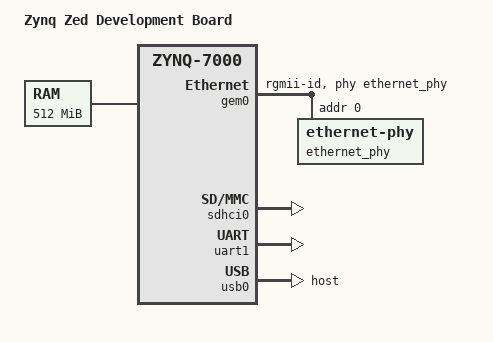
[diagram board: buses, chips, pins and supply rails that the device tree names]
/*
 *  Copyright (C) 2011 - 2014 Xilinx
 *  Copyright (C) 2012 National Instruments Corp.
 *
 * This software is licensed under the terms of the GNU General Public
 * License version 2, as published by the Free Software Foundation, and
 * may be copied, distributed, and modified under those terms.
 *
 * This program is distributed in the hope that it will be useful,
 * but WITHOUT ANY WARRANTY; without even the implied warranty of
 * MERCHANTABILITY or FITNESS FOR A PARTICULAR PURPOSE.  See the
 * GNU General Public License for more details.
 */
/dts-v1/;
/include/ "zynq-7000.dtsi"

/*
 * include for HDMI on ZED
 /include/ "zed-hdmi.dtsi"
 */

/*
 * include for canotto IP/slave-board
 *
 /include/ "zed-canotto.dtsi"
 */

/*
 * include for VGA ocfb-edl IP
 */

/include/ "zed-ocfb-edl.dtsi"


/ {
	model = "Zynq Zed Development Board";
	compatible = "xlnx,zynq-zed", "xlnx,zynq-7000";

	aliases {
		ethernet0 = &gem0;
		serial0 = &uart1;
	};

	memory {
		device_type = "memory";
		reg = <0x0 0x20000000>;
	};

	chosen {
		bootargs = "earlyprintk root=/dev/mmcblk0p2 rootwait";
		stdout-path = "serial0:115200n8";
	};
};

&clkc {
	ps-clk-frequency = <33333333>;
	fclk-enable = <0xf>;
};

&gem0 {
	status = "okay";
	phy-mode = "rgmii-id";
	phy-handle = <&ethernet_phy>;

	ethernet_phy: ethernet-phy@0 {
		reg = <0>;
	};
};

&sdhci0 {
	status = "okay";
};

&uart1 {
	status = "okay";
};

&usb0 {
	status = "okay";
	dr_mode = "host";
};
